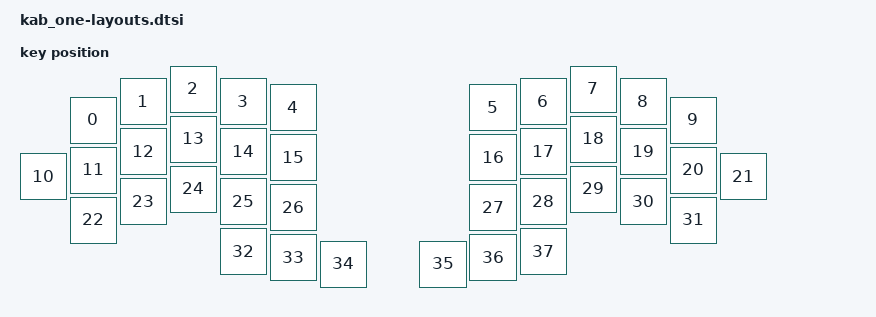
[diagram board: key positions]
// See https://zmk.dev/docs/development/hardware-integration/physical-layouts
// for how to configure this.

#include <physical_layouts.dtsi>

/ {
    default_layout: default_layout {
        compatible = "zmk,physical-layout";
        display-name = "Default Layout";
        transform = <&default_transform>;
        kscan = <&kscan>;

        // Edit this to define the positions and sizes of the keys, or remove it
        // if your keyboard will not support ZMK Studio.
        // https://zmk.dev/docs/development/hardware-integration/physical-layouts#optional-keys-property
	// NOTE(abrahm): https://zmk-physical-layout-converter.streamlit.app/ based on kgoh/jian/6column.dtsi
        keys  //                     w   h    x    y     rot    rx    ry
            = <&key_physical_attrs 100 100  100   62       0     0     0>
            , <&key_physical_attrs 100 100  200   25       0     0     0>
            , <&key_physical_attrs 100 100  300    0       0     0     0>
            , <&key_physical_attrs 100 100  400   25       0     0     0>
            , <&key_physical_attrs 100 100  500   37       0     0     0>
            , <&key_physical_attrs 100 100  900   37       0     0     0>
            , <&key_physical_attrs 100 100 1000   25       0     0     0>
            , <&key_physical_attrs 100 100 1100    0       0     0     0>
            , <&key_physical_attrs 100 100 1200   25       0     0     0>
            , <&key_physical_attrs 100 100 1300   62       0     0     0>
            , <&key_physical_attrs 100 100    0  175       0     0     0>
            , <&key_physical_attrs 100 100  100  162       0     0     0>
            , <&key_physical_attrs 100 100  200  125       0     0     0>
            , <&key_physical_attrs 100 100  300  100       0     0     0>
            , <&key_physical_attrs 100 100  400  125       0     0     0>
            , <&key_physical_attrs 100 100  500  137       0     0     0>
            , <&key_physical_attrs 100 100  900  137       0     0     0>
            , <&key_physical_attrs 100 100 1000  125       0     0     0>
            , <&key_physical_attrs 100 100 1100  100       0     0     0>
            , <&key_physical_attrs 100 100 1200  125       0     0     0>
            , <&key_physical_attrs 100 100 1300  162       0     0     0>
            , <&key_physical_attrs 100 100 1400  175       0     0     0>
            , <&key_physical_attrs 100 100  100  262       0     0     0>
            , <&key_physical_attrs 100 100  200  225       0     0     0>
            , <&key_physical_attrs 100 100  300  200       0     0     0>
            , <&key_physical_attrs 100 100  400  225       0     0     0>
            , <&key_physical_attrs 100 100  500  237       0     0     0>
            , <&key_physical_attrs 100 100  900  237       0     0     0>
            , <&key_physical_attrs 100 100 1000  225       0     0     0>
            , <&key_physical_attrs 100 100 1100  200       0     0     0>
            , <&key_physical_attrs 100 100 1200  225       0     0     0>
            , <&key_physical_attrs 100 100 1300  262       0     0     0>
            , <&key_physical_attrs 100 100  400  325       0     0     0>
            , <&key_physical_attrs 100 100  500  337       0     0     0>
            , <&key_physical_attrs 100 100  600  350       0     0     0>
            , <&key_physical_attrs 100 100  800  350       0     0     0>
            , <&key_physical_attrs 100 100  900  337       0     0     0>
            , <&key_physical_attrs 100 100 1000  325       0     0     0>
            ;
    };
};
